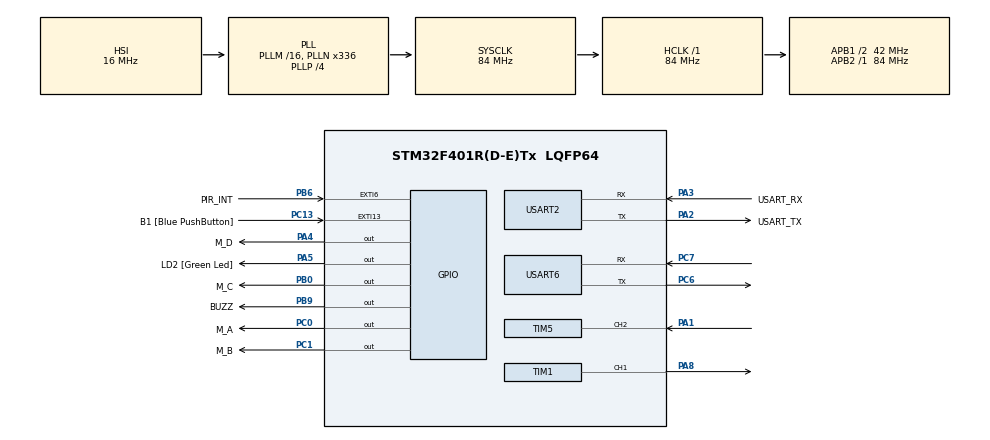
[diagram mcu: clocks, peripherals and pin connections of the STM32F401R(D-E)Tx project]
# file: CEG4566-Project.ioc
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FREERTOS.Tasks01=ultrasonicTask,24,256,UltrasonicTask,Default,NULL,Dynamic,NULL,NULL
Mcu.Family=STM32F4
Mcu.Name=STM32F401R(D-E)Tx
Mcu.Package=LQFP64
NVIC.EXTI9_5_IRQn=true\:5\:0\:false\:false\:true\:true\:true\:true\:true
NVIC.PriorityGroup=NVIC_PRIORITYGROUP_4
NVIC.TIM1_UP_TIM10_IRQn=true\:5\:0\:false\:false\:true\:true\:true\:true\:true
NVIC.TIM2_IRQn=true\:15\:0\:false\:false\:true\:false\:false\:true\:true
NVIC.TIM4_IRQn=true\:5\:0\:false\:false\:true\:true\:true\:true\:true
NVIC.TIM5_IRQn=true\:5\:0\:false\:false\:true\:true\:true\:true\:true
NVIC.TimeBase=TIM2_IRQn
NVIC.TimeBaseIP=TIM2
NVIC.USART6_IRQn=true\:5\:0\:false\:false\:true\:true\:true\:true\:true
PA0-WKUP.Mode=SYS_WakeUp0
PA0-WKUP.Signal=SYS_WKUP
PA1.Signal=S_TIM5_CH2
PA13.GPIO_Label=TMS
PA13.Mode=Trace_Asynchronous_SW
PA13.Signal=SYS_JTMS-SWDIO
PA14.GPIO_Label=TCK
PA14.Mode=Trace_Asynchronous_SW
PA14.Signal=SYS_JTCK-SWCLK
PA2.GPIO_Label=USART_TX
PA2.GPIO_Mode=GPIO_MODE_AF_PP
PA2.GPIO_PuPd=GPIO_NOPULL
PA2.GPIO_Speed=GPIO_SPEED_FREQ_LOW
PA2.Mode=Asynchronous
PA2.Signal=USART2_TX
PA3.GPIO_Label=USART_RX
PA3.GPIO_Mode=GPIO_MODE_AF_PP
PA3.GPIO_PuPd=GPIO_NOPULL
PA3.GPIO_Speed=GPIO_SPEED_FREQ_LOW
PA3.Mode=Asynchronous
PA3.Signal=USART2_RX
PA4.GPIO_Label=M_D
PA4.Signal=GPIO_Output
PA5.GPIO_Label=LD2 [Green Led]
PA5.GPIO_Mode=GPIO_MODE_OUTPUT_PP
PA5.GPIO_PuPd=GPIO_NOPULL
PA5.GPIO_Speed=GPIO_SPEED_FREQ_LOW
PA5.Signal=GPIO_Output
PA8.Signal=S_TIM1_CH1
PB0.GPIO_Label=M_C
PB0.Signal=GPIO_Output
PB3.GPIO_Label=SWO
PB3.Mode=Trace_Asynchronous_SW
PB3.Signal=SYS_JTDO-SWO
PB6.GPIO_Label=PIR_INT
PB6.GPIO_PuPd=GPIO_PULLDOWN
PB6.Signal=GPXTI6
PB9.GPIO_Label=BUZZ
PB9.GPIO_PuPd=GPIO_PULLDOWN
PB9.Signal=GPIO_Output
PC0.GPIO_Label=M_A
PC0.Signal=GPIO_Output
PC1.GPIO_Label=M_B
PC1.Signal=GPIO_Output
PC13-ANTI_TAMP.GPIO_Label=B1 [Blue PushButton]
PC13-ANTI_TAMP.GPIO_ModeDefaultEXTI=GPIO_MODE_IT_FALLING
PC13-ANTI_TAMP.GPIO_PuPd=GPIO_NOPULL
PC13-ANTI_TAMP.Signal=GPXTI13
PC14-OSC32_IN.Mode=LSE-External-Oscillator
PC14-OSC32_IN.Signal=RCC_OSC32_IN
PC15-OSC32_OUT.Mode=LSE-External-Oscillator
PC15-OSC32_OUT.Signal=RCC_OSC32_OUT
PC6.Mode=Asynchronous
PC6.Signal=USART6_TX
PC7.Mode=Asynchronous
PC7.Signal=USART6_RX
PH0\ -\ OSC_IN.Mode=HSE-External-Clock-Source
PH0\ -\ OSC_IN.Signal=RCC_OSC_IN
PH1\ -\ OSC_OUT.Mode=HSE-External-Clock-Source
PH1\ -\ OSC_OUT.Signal=RCC_OSC_OUT
ProjectManager.HeapSize=0x200
ProjectManager.StackSize=0x400
ProjectManager.TargetToolchain=STM32CubeIDE
RCC.48MHZClocksFreq_Value=48000000
RCC.AHBFreq_Value=84000000
RCC.APB1CLKDivider=RCC_HCLK_DIV2
RCC.APB1Freq_Value=42000000
RCC.APB1TimFreq_Value=84000000
RCC.APB2Freq_Value=84000000
RCC.APB2TimFreq_Value=84000000
RCC.CortexFreq_Value=84000000
RCC.HCLKFreq_Value=84000000
RCC.HSE_VALUE=8000000
RCC.HSI_VALUE=16000000
RCC.PLLN=336
RCC.PLLP=RCC_PLLP_DIV4
RCC.PLLQ=7
RCC.SYSCLKFreq_VALUE=84000000
RCC.SYSCLKSource=RCC_SYSCLKSOURCE_PLLCLK
RCC.VCOOutputFreq_Value=336000000
SH.S_TIM1_CH1.0=TIM1_CH1,PWM Generation1 CH1
SH.S_TIM5_CH2.0=TIM5_CH2,Input_Capture2_from_TI2
TIM1.Channel-PWM\ Generation1\ CH1=TIM_CHANNEL_1
TIM1.OC1Preload_PWM=DISABLE
TIM1.OCMode_PWM-PWM\ Generation1\ CH1=TIM_OCMODE_PWM2
TIM1.Period=10-1
TIM1.Prescaler=84-1
TIM1.Pulse-PWM\ Generation1\ CH1=1
TIM10.Period=10000-1
TIM10.Prescaler=42000-1
TIM4.Period=50000-1
TIM4.Prescaler=84-1
TIM5.Channel-Input_Capture2_from_TI2=TIM_CHANNEL_2
TIM5.ICPolarity_CH2=TIM_INPUTCHANNELPOLARITY_BOTHEDGE
TIM5.Prescaler=84-1
USART2.VirtualMode=VM_ASYNC
USART6.VirtualMode=VM_ASYNC
VP_FREERTOS_VS_CMSIS_V2.Mode=CMSIS_V2
VP_SYS_VS_tim2.Mode=TIM2
VP_TIM10_VS_ClockSourceINT.Mode=Enable_Timer
VP_TIM1_VS_ClockSourceINT.Mode=Internal
VP_TIM1_VS_OPM.Mode=OPM_bit
VP_TIM4_VS_ClockSourceINT.Mode=Internal
VP_TIM5_VS_ClockSourceINT.Mode=Internal
board=NUCLEO-F401RE

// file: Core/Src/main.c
/* USER CODE BEGIN Header */
/**
  ******************************************************************************
  * @file           : main.c
  * @brief          : Main program body
  ******************************************************************************
  * @attention
  *
  * Copyright (c) 2025 STMicroelectronics.
  * All rights reserved.
  *
  * This software is licensed under terms that can be found in the LICENSE file
  * in the root directory of this software component.
  * If no LICENSE file comes with this software, it is provided AS-IS.
  *
  ******************************************************************************
  */
/* USER CODE END Header */
#include "main.h"
#include "cmsis_os.h"

/* USER CODE BEGIN Includes */
#include "stdio.h"
#include "string.h"
#include "ultrasonic.h"
#include "stepper.h"
/* USER CODE END Includes */

TIM_HandleTypeDef htim1;
TIM_HandleTypeDef htim4;
TIM_HandleTypeDef htim5;
TIM_HandleTypeDef htim10;

UART_HandleTypeDef huart2;
UART_HandleTypeDef huart6;

/* Definitions for ultrasonicTask */
osThreadId_t ultrasonicTaskHandle;
const osThreadAttr_t ultrasonicTask_attributes = {
  .name = "ultrasonicTask",
  .stack_size = 256 * 4,
  .priority = (osPriority_t) osPriorityNormal,
};
/* USER CODE BEGIN PV */
volatile uint32_t g_echoStartTime;  // Stores the timestamp at the rising edge
volatile uint32_t g_echoEndTime;  // Stores the timestamp at the falling edge
volatile uint8_t echo_started = 0;  // Flag to track first/second capture
char msg[50];

// UART Receive Buffer
uint8_t RxData[16];

// whether the sleep mode should be started
volatile char start_sleep = 0;
// whether the motor is at the start angle (0 deg)
char angle_start = 0;

// config
int speed_mode = 0;
int threshold = 30;
int max_range = 50;
int duration = 5;
/* USER CODE END PV */

void SystemClock_Config(void);
static void MX_GPIO_Init(void);
static void MX_USART2_UART_Init(void);
static void MX_TIM1_Init(void);
static void MX_TIM5_Init(void);
static void MX_TIM4_Init(void);
static void MX_USART6_UART_Init(void);
static void MX_TIM10_Init(void);
void UltrasonicTask(void *argument);

int main(void)
{

  /* MCU Configuration--------------------------------------------------------*/

  /* Reset of all peripherals, Initializes the Flash interface and the Systick. */
  HAL_Init();

  /* Configure the system clock */
  SystemClock_Config();

  /* Initialize all configured peripherals */
  MX_GPIO_Init();
  MX_USART2_UART_Init();
  MX_TIM1_Init();
  MX_TIM5_Init();
  MX_TIM4_Init();
  MX_USART6_UART_Init();
  MX_TIM10_Init();
  /* USER CODE BEGIN 2 */
  if (__HAL_PWR_GET_FLAG(PWR_FLAG_SB) != RESET)
    {
  	  __HAL_PWR_CLEAR_FLAG(PWR_FLAG_SB);  // clear the flag

  	  /** display  the string **/
  	  char *str = "Wakeup from the STANDBY MODE\n\n";
  	  HAL_UART_Transmit(&huart2, (uint8_t *)str, strlen (str), HAL_MAX_DELAY);

  	  /** Blink the LED **/
  	  for (int i=0; i<20; i++)
  	  {
  		  HAL_GPIO_TogglePin(GPIOA, GPIO_PIN_5);
  		  HAL_Delay(200);
  	  }

  	  /** Disable the WWAKEUP PIN **/
  	  HAL_PWR_DisableWakeUpPin(PWR_WAKEUP_PIN1);  // disable PA0
    }
  // Ultrasonic Sensor setup
  HAL_TIM_IC_Start_IT(&htim5, TIM_CHANNEL_2);
  HAL_TIM_OnePulse_Start(&htim1, TIM_CHANNEL_1);

  ultrasonic_init(&htim1, &g_echoStartTime, &g_echoEndTime, 0x1);

  // Stepper setup
  HAL_TIM_Base_Start_IT(&htim4);
  stepper_init(&htim4, TIM4_IRQn);
  stepper_set_speed(11000);

  // Sleep mode timer
  HAL_TIM_Base_Start_IT(&htim10);
  HAL_GPIO_WritePin(LD2_GPIO_Port, LD2_Pin, GPIO_PIN_RESET);

  // UART Receive Interrupt
  HAL_UART_Receive_IT(&huart6, RxData, 16);
  /* USER CODE END 2 */

  /* Init scheduler */
  osKernelInitialize();

  /* Create the thread(s) */
  /* creation of ultrasonicTask */
  ultrasonicTaskHandle = osThreadNew(UltrasonicTask, NULL, &ultrasonicTask_attributes);

  /* Start scheduler */
  osKernelStart();

  /* We should never get here as control is now taken by the scheduler */

  /* Infinite loop */
  while (1)
  {

  }
}

void SystemClock_Config(void)
{
  RCC_OscInitTypeDef RCC_OscInitStruct = {0};
  RCC_ClkInitTypeDef RCC_ClkInitStruct = {0};

  /** Configure the main internal regulator output voltage
  */
  __HAL_RCC_PWR_CLK_ENABLE();
  __HAL_PWR_VOLTAGESCALING_CONFIG(PWR_REGULATOR_VOLTAGE_SCALE2);

  /** Initializes the RCC Oscillators according to the specified parameters
  * in the RCC_OscInitTypeDef structure.
  */
  RCC_OscInitStruct.OscillatorType = RCC_OSCILLATORTYPE_HSI;
  RCC_OscInitStruct.HSIState = RCC_HSI_ON;
  RCC_OscInitStruct.HSICalibrationValue = RCC_HSICALIBRATION_DEFAULT;
  RCC_OscInitStruct.PLL.PLLState = RCC_PLL_ON;
  RCC_OscInitStruct.PLL.PLLSource = RCC_PLLSOURCE_HSI;
  RCC_OscInitStruct.PLL.PLLM = 16;
  RCC_OscInitStruct.PLL.PLLN = 336;
  RCC_OscInitStruct.PLL.PLLP = RCC_PLLP_DIV4;
  RCC_OscInitStruct.PLL.PLLQ = 7;
  if (HAL_RCC_OscConfig(&RCC_OscInitStruct) != HAL_OK)
  {
    Error_Handler();
  }

  /** Initializes the CPU, AHB and APB buses clocks
  */
  RCC_ClkInitStruct.ClockType = RCC_CLOCKTYPE_HCLK|RCC_CLOCKTYPE_SYSCLK
                              |RCC_CLOCKTYPE_PCLK1|RCC_CLOCKTYPE_PCLK2;
  RCC_ClkInitStruct.SYSCLKSource = RCC_SYSCLKSOURCE_PLLCLK;
  RCC_ClkInitStruct.AHBCLKDivider = RCC_SYSCLK_DIV1;
  RCC_ClkInitStruct.APB1CLKDivider = RCC_HCLK_DIV2;
  RCC_ClkInitStruct.APB2CLKDivider = RCC_HCLK_DIV1;

  if (HAL_RCC_ClockConfig(&RCC_ClkInitStruct, FLASH_LATENCY_2) != HAL_OK)
  {
    Error_Handler();
  }
}

static void MX_TIM1_Init(void)
{

  TIM_ClockConfigTypeDef sClockSourceConfig = {0};
  TIM_MasterConfigTypeDef sMasterConfig = {0};
  TIM_OC_InitTypeDef sConfigOC = {0};
  TIM_BreakDeadTimeConfigTypeDef sBreakDeadTimeConfig = {0};

  htim1.Instance = TIM1;
  htim1.Init.Prescaler = 84-1;
  htim1.Init.CounterMode = TIM_COUNTERMODE_UP;
  htim1.Init.Period = 10-1;
  htim1.Init.ClockDivision = TIM_CLOCKDIVISION_DIV1;
  htim1.Init.RepetitionCounter = 0;
  htim1.Init.AutoReloadPreload = TIM_AUTORELOAD_PRELOAD_DISABLE;
  if (HAL_TIM_Base_Init(&htim1) != HAL_OK)
  {
    Error_Handler();
  }
  sClockSourceConfig.ClockSource = TIM_CLOCKSOURCE_INTERNAL;
  if (HAL_TIM_ConfigClockSource(&htim1, &sClockSourceConfig) != HAL_OK)
  {
    Error_Handler();
  }
  if (HAL_TIM_PWM_Init(&htim1) != HAL_OK)
  {
    Error_Handler();
  }
  if (HAL_TIM_OnePulse_Init(&htim1, TIM_OPMODE_SINGLE) != HAL_OK)
  {
    Error_Handler();
  }
  sMasterConfig.MasterOutputTrigger = TIM_TRGO_RESET;
  sMasterConfig.MasterSlaveMode = TIM_MASTERSLAVEMODE_DISABLE;
  if (HAL_TIMEx_MasterConfigSynchronization(&htim1, &sMasterConfig) != HAL_OK)
  {
    Error_Handler();
  }
  sConfigOC.OCMode = TIM_OCMODE_PWM2;
  sConfigOC.Pulse = 1;
  sConfigOC.OCPolarity = TIM_OCPOLARITY_HIGH;
  sConfigOC.OCNPolarity = TIM_OCNPOLARITY_HIGH;
  sConfigOC.OCFastMode = TIM_OCFAST_DISABLE;
  sConfigOC.OCIdleState = TIM_OCIDLESTATE_RESET;
  sConfigOC.OCNIdleState = TIM_OCNIDLESTATE_RESET;
  if (HAL_TIM_PWM_ConfigChannel(&htim1, &sConfigOC, TIM_CHANNEL_1) != HAL_OK)
  {
    Error_Handler();
  }
  __HAL_TIM_DISABLE_OCxPRELOAD(&htim1, TIM_CHANNEL_1);
  sBreakDeadTimeConfig.OffStateRunMode = TIM_OSSR_DISABLE;
  sBreakDeadTimeConfig.OffStateIDLEMode = TIM_OSSI_DISABLE;
  sBreakDeadTimeConfig.LockLevel = TIM_LOCKLEVEL_OFF;
  sBreakDeadTimeConfig.DeadTime = 0;
  sBreakDeadTimeConfig.BreakState = TIM_BREAK_DISABLE;
  sBreakDeadTimeConfig.BreakPolarity = TIM_BREAKPOLARITY_HIGH;
  sBreakDeadTimeConfig.AutomaticOutput = TIM_AUTOMATICOUTPUT_DISABLE;
  if (HAL_TIMEx_ConfigBreakDeadTime(&htim1, &sBreakDeadTimeConfig) != HAL_OK)
  {
    Error_Handler();
  }
  HAL_TIM_MspPostInit(&htim1);

}

static void MX_TIM4_Init(void)
{

  TIM_ClockConfigTypeDef sClockSourceConfig = {0};
  TIM_MasterConfigTypeDef sMasterConfig = {0};

  htim4.Instance = TIM4;
  htim4.Init.Prescaler = 84-1;
  htim4.Init.CounterMode = TIM_COUNTERMODE_UP;
  htim4.Init.Period = 50000-1;
  htim4.Init.ClockDivision = TIM_CLOCKDIVISION_DIV1;
  htim4.Init.AutoReloadPreload = TIM_AUTORELOAD_PRELOAD_DISABLE;
  if (HAL_TIM_Base_Init(&htim4) != HAL_OK)
  {
    Error_Handler();
  }
  sClockSourceConfig.ClockSource = TIM_CLOCKSOURCE_INTERNAL;
  if (HAL_TIM_ConfigClockSource(&htim4, &sClockSourceConfig) != HAL_OK)
  {
    Error_Handler();
  }
  sMasterConfig.MasterOutputTrigger = TIM_TRGO_RESET;
  sMasterConfig.MasterSlaveMode = TIM_MASTERSLAVEMODE_DISABLE;
  if (HAL_TIMEx_MasterConfigSynchronization(&htim4, &sMasterConfig) != HAL_OK)
  {
    Error_Handler();
  }

}

static void MX_TIM5_Init(void)
{

  TIM_ClockConfigTypeDef sClockSourceConfig = {0};
  TIM_MasterConfigTypeDef sMasterConfig = {0};
  TIM_IC_InitTypeDef sConfigIC = {0};

  htim5.Instance = TIM5;
  htim5.Init.Prescaler = 84-1;
  htim5.Init.CounterMode = TIM_COUNTERMODE_UP;
  htim5.Init.Period = 4294967295;
  htim5.Init.ClockDivision = TIM_CLOCKDIVISION_DIV1;
  htim5.Init.AutoReloadPreload = TIM_AUTORELOAD_PRELOAD_DISABLE;
  if (HAL_TIM_Base_Init(&htim5) != HAL_OK)
  {
    Error_Handler();
  }
  sClockSourceConfig.ClockSource = TIM_CLOCKSOURCE_INTERNAL;
  if (HAL_TIM_ConfigClockSource(&htim5, &sClockSourceConfig) != HAL_OK)
  {
    Error_Handler();
  }
  if (HAL_TIM_IC_Init(&htim5) != HAL_OK)
  {
    Error_Handler();
  }
  sMasterConfig.MasterOutputTrigger = TIM_TRGO_RESET;
  sMasterConfig.MasterSlaveMode = TIM_MASTERSLAVEMODE_DISABLE;
  if (HAL_TIMEx_MasterConfigSynchronization(&htim5, &sMasterConfig) != HAL_OK)
  {
    Error_Handler();
  }
  sConfigIC.ICPolarity = TIM_INPUTCHANNELPOLARITY_BOTHEDGE;
  sConfigIC.ICSelection = TIM_ICSELECTION_DIRECTTI;
  sConfigIC.ICPrescaler = TIM_ICPSC_DIV1;
  sConfigIC.ICFilter = 0;
  if (HAL_TIM_IC_ConfigChannel(&htim5, &sConfigIC, TIM_CHANNEL_2) != HAL_OK)
  {
    Error_Handler();
  }

}

static void MX_TIM10_Init(void)
{

  htim10.Instance = TIM10;
  htim10.Init.Prescaler = 42000-1;
  htim10.Init.CounterMode = TIM_COUNTERMODE_UP;
  htim10.Init.Period = 10000-1;
  htim10.Init.ClockDivision = TIM_CLOCKDIVISION_DIV1;
  htim10.Init.AutoReloadPreload = TIM_AUTORELOAD_PRELOAD_DISABLE;
  if (HAL_TIM_Base_Init(&htim10) != HAL_OK)
  {
    Error_Handler();
  }

}

static void MX_USART2_UART_Init(void)
{

  huart2.Instance = USART2;
  huart2.Init.BaudRate = 115200;
  huart2.Init.WordLength = UART_WORDLENGTH_8B;
  huart2.Init.StopBits = UART_STOPBITS_1;
  huart2.Init.Parity = UART_PARITY_NONE;
  huart2.Init.Mode = UART_MODE_TX_RX;
  huart2.Init.HwFlowCtl = UART_HWCONTROL_NONE;
  huart2.Init.OverSampling = UART_OVERSAMPLING_16;
  if (HAL_UART_Init(&huart2) != HAL_OK)
  {
    Error_Handler();
  }

}

static void MX_USART6_UART_Init(void)
{

  huart6.Instance = USART6;
  huart6.Init.BaudRate = 115200;
  huart6.Init.WordLength = UART_WORDLENGTH_8B;
  huart6.Init.StopBits = UART_STOPBITS_1;
  huart6.Init.Parity = UART_PARITY_NONE;
  huart6.Init.Mode = UART_MODE_TX_RX;
  huart6.Init.HwFlowCtl = UART_HWCONTROL_NONE;
  huart6.Init.OverSampling = UART_OVERSAMPLING_16;
  if (HAL_UART_Init(&huart6) != HAL_OK)
  {
    Error_Handler();
  }

}

static void MX_GPIO_Init(void)
{
  GPIO_InitTypeDef GPIO_InitStruct = {0};

  /* GPIO Ports Clock Enable */
  __HAL_RCC_GPIOC_CLK_ENABLE();
  __HAL_RCC_GPIOH_CLK_ENABLE();
  __HAL_RCC_GPIOA_CLK_ENABLE();
  __HAL_RCC_GPIOB_CLK_ENABLE();

  /*Configure GPIO pin Output Level */
  HAL_GPIO_WritePin(GPIOC, M_A_Pin|M_B_Pin, GPIO_PIN_RESET);

  /*Configure GPIO pin Output Level */
  HAL_GPIO_WritePin(GPIOA, M_D_Pin|LD2_Pin, GPIO_PIN_RESET);

  /*Configure GPIO pin Output Level */
  HAL_GPIO_WritePin(GPIOB, M_C_Pin|BUZZ_Pin, GPIO_PIN_RESET);

  /*Configure GPIO pin : B1_Pin */
  GPIO_InitStruct.Pin = B1_Pin;
  GPIO_InitStruct.Mode = GPIO_MODE_IT_FALLING;
  GPIO_InitStruct.Pull = GPIO_NOPULL;
  HAL_GPIO_Init(B1_GPIO_Port, &GPIO_InitStruct);

  /*Configure GPIO pins : M_A_Pin M_B_Pin */
  GPIO_InitStruct.Pin = M_A_Pin|M_B_Pin;
  GPIO_InitStruct.Mode = GPIO_MODE_OUTPUT_PP;
  GPIO_InitStruct.Pull = GPIO_NOPULL;
  GPIO_InitStruct.Speed = GPIO_SPEED_FREQ_LOW;
  HAL_GPIO_Init(GPIOC, &GPIO_InitStruct);

  /*Configure GPIO pins : M_D_Pin LD2_Pin */
  GPIO_InitStruct.Pin = M_D_Pin|LD2_Pin;
  GPIO_InitStruct.Mode = GPIO_MODE_OUTPUT_PP;
  GPIO_InitStruct.Pull = GPIO_NOPULL;
  GPIO_InitStruct.Speed = GPIO_SPEED_FREQ_LOW;
  HAL_GPIO_Init(GPIOA, &GPIO_InitStruct);

  /*Configure GPIO pin : M_C_Pin */
  GPIO_InitStruct.Pin = M_C_Pin;
  GPIO_InitStruct.Mode = GPIO_MODE_OUTPUT_PP;
  GPIO_InitStruct.Pull = GPIO_NOPULL;
  GPIO_InitStruct.Speed = GPIO_SPEED_FREQ_LOW;
  HAL_GPIO_Init(M_C_GPIO_Port, &GPIO_InitStruct);

  /*Configure GPIO pin : PIR_INT_Pin */
  GPIO_InitStruct.Pin = PIR_INT_Pin;
  GPIO_InitStruct.Mode = GPIO_MODE_IT_RISING;
  GPIO_InitStruct.Pull = GPIO_PULLDOWN;
  HAL_GPIO_Init(PIR_INT_GPIO_Port, &GPIO_InitStruct);

  /*Configure GPIO pin : BUZZ_Pin */
  GPIO_InitStruct.Pin = BUZZ_Pin;
  GPIO_InitStruct.Mode = GPIO_MODE_OUTPUT_PP;
  GPIO_InitStruct.Pull = GPIO_PULLDOWN;
  GPIO_InitStruct.Speed = GPIO_SPEED_FREQ_LOW;
  HAL_GPIO_Init(BUZZ_GPIO_Port, &GPIO_InitStruct);

  /* EXTI interrupt init*/
  HAL_NVIC_SetPriority(EXTI9_5_IRQn, 5, 0);
  HAL_NVIC_EnableIRQ(EXTI9_5_IRQn);

}

/* USER CODE BEGIN 4 */
void HAL_TIM_IC_CaptureCallback(TIM_HandleTypeDef *htim) {
    if (htim->Instance == TIM5) {
        if (!echo_started) {  // Rising edge
            g_echoStartTime = __HAL_TIM_GET_COUNTER(&htim5);
            echo_started = 1;
        } else {  // Falling edge
            g_echoEndTime = __HAL_TIM_GET_COUNTER(&htim5);
            echo_started = 0;
            // Set flag, indicating measurement is ready
            osThreadFlagsSet(ultrasonicTaskHandle, 0x1);
        }
    }
}

void HAL_GPIO_EXTI_Callback(uint16_t GPIO_Pin)
{
    if(GPIO_Pin == PIR_INT_Pin) // If The INT Source Is EXTI Line9 (A9 Pin)
    {
		__HAL_TIM_SET_COUNTER(&htim10, 0);
		// if scheduled to start sleep and object detected, unschedule sleep
		if (start_sleep) {
			start_sleep = 0;
			HAL_GPIO_WritePin(LD2_GPIO_Port, LD2_Pin, GPIO_PIN_RESET);
		}
    }
}

void HAL_UART_RxCpltCallback(UART_HandleTypeDef *huart)
{
    memcpy(&speed_mode, &RxData[0], 4);
    memcpy(&threshold, &RxData[4], 4);
    memcpy(&max_range, &RxData[8], 4);
    memcpy(&duration, &RxData[12], 4);

    // speed mode
    if (speed_mode == 1) {
  	  stepper_set_speed(6500);
    } else {
    	speed_mode = 0;
	  stepper_set_speed(11000);
    }

    // threshold
    if (threshold == 10) {

    } else if (threshold == 50) {

    } else if (threshold == 100) {

    } else {
    	threshold = 30;
    }

    // max range
    if (max_range == 150) {

    } else {
    	max_range = 50;
    }

    // duration
    if (duration == 2) {
    	__HAL_TIM_SET_AUTORELOAD(&htim10, 4000-1);
    	htim10.Instance->EGR |= TIM_EGR_UG;
    } else if (duration == 5) {
    	__HAL_TIM_SET_AUTORELOAD(&htim10, 10000-1);
    	htim10.Instance->EGR |= TIM_EGR_UG;
    } else if (duration == 30) {
    	__HAL_TIM_SET_AUTORELOAD(&htim10, 60000-1);
    	htim10.Instance->EGR |= TIM_EGR_UG;
    } else {
    	duration = 10;
    	__HAL_TIM_SET_AUTORELOAD(&htim10, 20000-1);
    	htim10.Instance->EGR |= TIM_EGR_UG;
    }

	sprintf(msg, "Updated settings: %d,%d,%d,%d\r\n", speed_mode, threshold, max_range, duration);
	HAL_UART_Transmit(&huart2, (uint8_t*)msg, strlen(msg), HAL_MAX_DELAY);

    HAL_GPIO_TogglePin(LD2_GPIO_Port, LD2_Pin);

    HAL_UART_Receive_IT(&huart6, RxData, 16);
}
/* USER CODE END 4 */

void UltrasonicTask(void *argument)
{
  /* USER CODE BEGIN 5 */
  /* Infinite loop */
  for(;;)
  {
	float distance = ultrasonic_get_distance();

	// Get the current angle (in degrees) and round it to the nearest integer.
	int angle = (int)(stepper_get_angle() + 0.5f);

	int fixed_angle = angle;
	if (fixed_angle > 350) {
		fixed_angle = 0;
	} else if (fixed_angle > 90) {
		fixed_angle = 90;
	}

	if (distance == -1 || distance > max_range) {
		distance = -1;
		HAL_GPIO_WritePin(BUZZ_GPIO_Port, BUZZ_Pin, GPIO_PIN_RESET);
		sprintf(msg, "Angle:  %d°; Distance: OOR\r\n", fixed_angle);
	} else {
		if (distance < threshold) {
			HAL_GPIO_WritePin(BUZZ_GPIO_Port, BUZZ_Pin, GPIO_PIN_SET);
		} else {
			HAL_GPIO_WritePin(BUZZ_GPIO_Port, BUZZ_Pin, GPIO_PIN_RESET);
		}
		// reset timer for sleep mode
		__HAL_TIM_SET_COUNTER(&htim10, 0);
		// if scheduled to start sleep and object detected, unschedule sleep
		if (start_sleep) {
			start_sleep = 0;
			HAL_GPIO_WritePin(LD2_GPIO_Port, LD2_Pin, GPIO_PIN_RESET);
		}
		sprintf(msg, "Angle:  %d°; Distance: %0.2f cm\r\n", fixed_angle, distance);
	}
	  HAL_UART_Transmit(&huart2, (uint8_t*)msg, strlen(msg), HAL_MAX_DELAY);

	  // Create a buffer to hold binary data
	  uint8_t data[24];
	  memcpy(data, &fixed_angle, sizeof(fixed_angle)); // Copy int (4 bytes)
	  memcpy(data + sizeof(fixed_angle), &distance, sizeof(distance)); // Copy float (4 bytes)
	  memcpy(data + sizeof(distance) * 2, &speed_mode, sizeof(speed_mode)); // Copy int (4 bytes)
	  memcpy(data + sizeof(speed_mode) * 3, &threshold, sizeof(threshold)); // Copy int (4 bytes)
	  memcpy(data + sizeof(threshold) * 4, &max_range, sizeof(max_range)); // Copy int (4 bytes)
	  memcpy(data + sizeof(max_range) * 5, &duration, sizeof(duration)); // Copy int (4 bytes)

	  // Transmit binary data
	  HAL_UART_Transmit(&huart6, data, sizeof(data), HAL_MAX_DELAY);
	  if ((angle_start && angle > 350) || (!angle_start && (angle >= 90 && angle < 100))) {
		  // if at the start position and sleep is scheduled, go into standby mode
		  if (angle_start) {
			  if (start_sleep) {
				  // Send message indicating sleep mode is starting
				  speed_mode = 2;
				  uint8_t data[24];
				  memcpy(data, &fixed_angle, sizeof(fixed_angle)); // Copy int (4 bytes)
				  memcpy(data + sizeof(fixed_angle), &distance, sizeof(distance)); // Copy float (4 bytes)
				  memcpy(data + sizeof(distance) * 2, &speed_mode, sizeof(speed_mode)); // Copy int (4 bytes)
				  memcpy(data + sizeof(speed_mode) * 3, &threshold, sizeof(threshold)); // Copy int (4 bytes)
				  memcpy(data + sizeof(threshold) * 4, &max_range, sizeof(max_range)); // Copy int (4 bytes)
				  memcpy(data + sizeof(max_range) * 5, &duration, sizeof(duration)); // Copy int (4 bytes)

				  // Transmit binary data
				  HAL_UART_Transmit(&huart6, data, sizeof(data), HAL_MAX_DELAY);

				  sprintf(msg, "Starting sleep mode\r\n");
				  HAL_UART_Transmit(&huart2, (uint8_t*)msg, strlen(msg), HAL_MAX_DELAY);

				  __HAL_PWR_CLEAR_FLAG(PWR_FLAG_WU);
				  HAL_PWR_EnableWakeUpPin(PWR_WAKEUP_PIN1);
				  HAL_PWR_EnterSTANDBYMode();
			  }
			  angle_start = 0;
		  } else angle_start = 1;
		  stepper_disable();
		  osDelay(1000);
		  stepper_change_direction();
		  stepper_enable();
	  }
	osDelay(100);
  }
  /* USER CODE END 5 */
}

void HAL_TIM_PeriodElapsedCallback(TIM_HandleTypeDef *htim)
{
  if (htim->Instance == TIM2) {
    HAL_IncTick();
  }
  /* USER CODE BEGIN Callback 1 */
  if (htim->Instance == TIM4) {
	  stepper_full_drive();
  }

  if (htim->Instance == TIM10) {
	  if (HAL_GPIO_ReadPin(PIR_INT_GPIO_Port, PIR_INT_Pin) != GPIO_PIN_SET) {
		  HAL_GPIO_WritePin(LD2_GPIO_Port, LD2_Pin, GPIO_PIN_SET);
		  start_sleep = 1;
	  } else {
		// reset timer for sleep mode
		__HAL_TIM_SET_COUNTER(&htim10, 0);
		// if scheduled to start sleep and object detected, unschedule sleep
		if (start_sleep) {
			start_sleep = 0;
			HAL_GPIO_WritePin(LD2_GPIO_Port, LD2_Pin, GPIO_PIN_RESET);
		}
	  }
  }
  /* USER CODE END Callback 1 */
}

void Error_Handler(void)
{
  __disable_irq();
  while (1)
  {
  }
}
